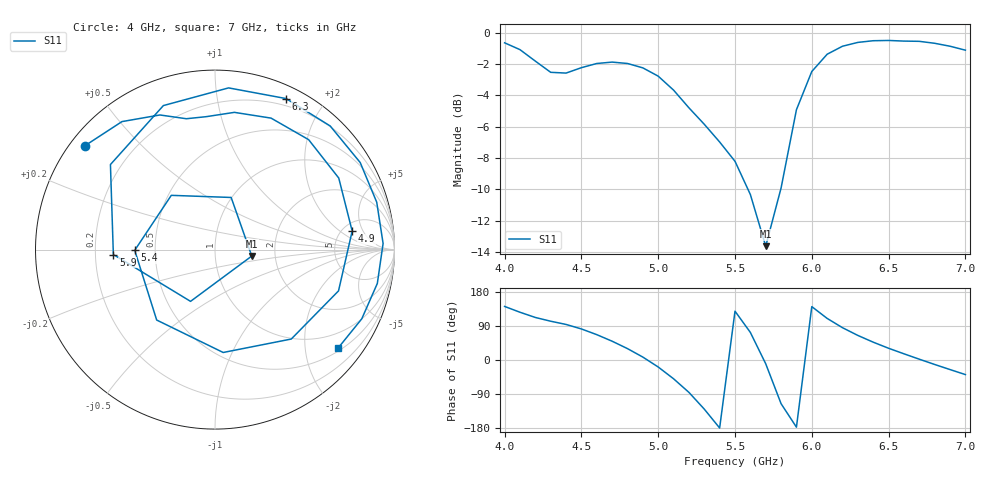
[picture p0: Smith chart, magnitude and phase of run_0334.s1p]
! Touchstone file exported from HFSS 2024.2.0
!  File:  C:/Users/wsak9/Desktop/Sim Fast/Widenad Patch/WP_AI_V1_sweep.aedt
!  Generated:  05:09:07 AM Oct 14, 2026
!  Design:  A1_model
!  Project:  WP_AI_V1_sweep
!  Setup:  Setup1
!  Solution:  Sweep
! Variables:
!  Air_gap = 2.66mm
!  Curve_Amp1 = 2.42
!  Curve_len1 = 1
!  Curve_pos = 11.465mm
!  Extra = 7.1mm
!  H_sub = 0.79mm
!  L_Patch = 18.93mm
!  L_Patch1 = 17.77mm
!  Sx = 1.51mm
!  Sy = 0.45mm
!  WS = 0.92mm
!  W_Patch = 17.98mm
!  W_Patch1 = 10.67mm
!Data is not renormalized
# GHz S MA
! Terminal data exported
! Port[1] = 1
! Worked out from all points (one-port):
!   31 points, 4 GHz to 7 GHz, reference per port
!   lowest |S11| = -13.6 dB at 5.7 GHz (marker M1), VSWR 1.53
!   |S11| at or under -10 dB: 5.584 GHz to 5.798 GHz (214 MHz wide, 3.76 % of centre)
!   S11 on the Smith chart (normalised r, x): 4 GHz: 0.04, +0.35; 4.9 GHz: 6.12, +3.12; 5.4 GHz: 0.38, -0.00; 5.9 GHz: 0.28, -0.02; 6.3 GHz: 0.13, +1.57; 7 GHz: 0.58, -2.76
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4  0.9271 141.4
4.1  0.8817 126.0
4.2  0.8104 112.2
4.4  0.7422 93.8
4.6  0.7964 66.9
4.7  0.8046 49.6
4.8  0.7965 30.0
4.9  0.7712 7.7
5  0.7256 -18.5
5.1  0.6549 -49.5
5.2  0.575 -85.4
5.3  0.5095 -129.6
5.4  0.4473 -179.5
5.5  0.3882 128.8
5.6  0.3041 72.8
5.7  0.208 -9.9
5.8  0.319 -115.3
5.9  0.5669 -177.2
6  0.7509 140.9
6.1  0.8524 109.7
6.2  0.9041 85.2
6.3  0.9299 64.8
6.4  0.9414 47.0
6.5  0.9433 31.0
6.6  0.9389 16.3
6.7  0.9372 2.1
6.8  0.9239 -11.8
7  0.8783 -38.5
